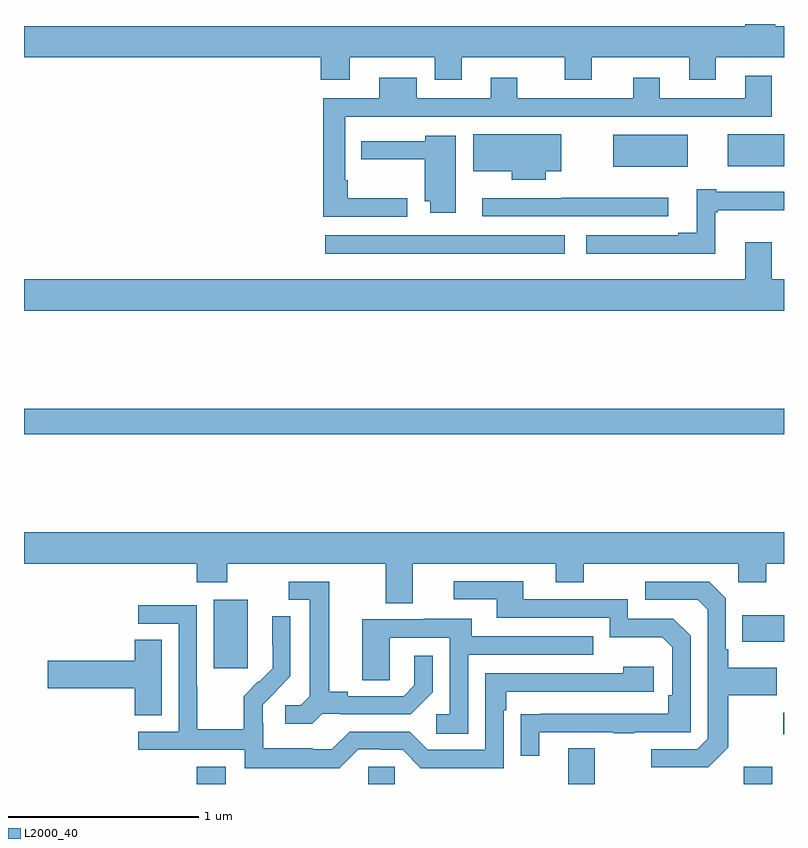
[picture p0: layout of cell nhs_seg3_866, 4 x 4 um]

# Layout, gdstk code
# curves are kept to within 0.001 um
import gdstk
lib = gdstk.Library(unit=1e-6, precision=1e-09)
def R(c, l, rs):  # rectangles x0, y0, x1, y1
    for r in rs: c.add(gdstk.rectangle(r[:2], r[2:], *l))
def P(c, l, *ps):  # polygons
    for p in ps: c.add(gdstk.Polygon(p, *l))
L2000_40 = (2000, 40)

nhs_seg3_866 = lib.new_cell('nhs_seg3_866')
R(nhs_seg3_866, L2000_40, [(155.909,722.4,156.061,722.491), (156.813,722.4,156.951,722.49), (157.865,722.4,158.005,722.587), (158.789,722.4,158.937,722.491), (158.997,722.661,159,722.774), (155.999,723.009,156.178,723.37), (158.779,723.149,159,723.289), (155,724.24,159,724.376), (156.585,725.192,157.846,725.289), (158.102,725.648,158.494,725.818), (158.705,725.651,159,725.821)])
P(nhs_seg3_866, L2000_40, [(156.715,726.224),(157.163,726.224),(157.163,726.107),(157.303,726.107),(157.303,726.224),(157.847,726.224),(157.847,726.107),(157.987,726.107),(157.987,726.224),(158.501,726.224),(158.501,726.107),(158.641,726.107),(158.641,726.224),(159,726.224),(159,726.388),(158.955,726.388),(158.955,726.4),(158.795,726.4),(158.795,726.388),(155,726.388),(155,726.224),(156.563,726.224),(156.563,726.107),(156.715,726.107)],
  [(157.018,725.483),(156.703,725.483),(156.703,725.578),(156.69,725.578),(156.69,725.913),(158.935,725.913),(158.935,726.127),(158.795,726.127),(158.795,726.009),(158.347,726.009),(158.347,726.118),(158.207,726.118),(158.207,726.009),(157.597,726.009),(157.597,726.118),(157.457,726.118),(157.457,726.009),(157.066,726.009),(157.066,726.118),(156.869,726.118),(156.869,726.009),(156.574,726.009),(156.574,725.385),(157.018,725.385)],
  [(157.745,725.624),(157.828,725.624),(157.828,725.821),(157.364,725.821),(157.364,725.624),(157.567,725.624),(157.567,725.579),(157.745,725.579)],
  [(157.273,725.812),(157.113,725.812),(157.113,725.784),(156.775,725.784),(156.775,725.687),(157.109,725.687),(157.109,725.468),(157.139,725.468),(157.139,725.406),(157.273,725.406)],
  [(158.638,725.409),(158.65,725.409),(158.65,725.42),(159,725.42),(159,725.518),(158.644,725.518),(158.644,725.53),(158.54,725.53),(158.54,725.302),(158.444,725.302),(158.444,725.289),(157.959,725.289),(157.959,725.192),(158.638,725.192)],
  [(158.392,725.485),(157.828,725.485),(157.828,725.484),(157.413,725.484),(157.413,725.388),(158.392,725.388)],
  [(159,725.056),(158.935,725.056),(158.935,725.251),(158.795,725.251),(158.795,725.056),(155,725.056),(155,724.892),(159,724.892)],
  [(157.045,723.56),(157.799,723.56),(157.799,723.461),(157.947,723.461),(157.947,723.56),(158.76,723.56),(158.76,723.461),(158.907,723.461),(158.907,723.56),(159,723.56),(159,723.724),(155,723.724),(155,723.56),(155.909,723.56),(155.909,723.461),(156.069,723.461),(156.069,723.56),(156.905,723.56),(156.905,723.352),(157.045,723.352)],
  [(157.711,722.673),(158.101,722.673),(158.101,722.668),(158.213,722.668),(158.213,722.673),(158.508,722.673),(158.508,723.18),(158.418,723.27),(158.178,723.27),(158.178,723.372),(157.627,723.372),(157.627,723.468),(157.263,723.468),(157.263,723.372),(157.487,723.372),(157.487,723.276),(158.082,723.276),(158.082,723.173),(158.359,723.173),(158.412,723.12),(158.412,722.866),(158.392,722.866),(158.392,722.769),(157.615,722.768),(157.615,722.55),(157.711,722.55)],
  [(156.57,722.769),(156.664,722.769),(156.664,722.766),(157.036,722.766),(157.152,722.882),(157.152,723.076),(157.055,723.076),(157.055,722.919),(156.998,722.862),(156.703,722.862),(156.703,722.885),(156.607,722.885),(156.607,723.465),(156.393,723.465),(156.393,723.369),(156.503,723.369),(156.503,722.861),(156.456,722.814),(156.375,722.814),(156.375,722.717),(156.518,722.717)],
  [(158.707,722.593),(158.707,722.866),(158.963,722.866),(158.963,723.013),(158.707,723.013),(158.707,723.109),(158.694,723.109),(158.694,723.378),(158.607,723.465),(158.271,723.465),(158.271,723.369),(158.547,723.369),(158.598,723.318),(158.598,722.637),(158.544,722.583),(158.301,722.583),(158.301,722.487),(158.601,722.487)],
  [(156.759,722.583),(156.875,722.583),(156.875,722.58),(156.993,722.58),(157.089,722.484),(157.524,722.484),(157.524,722.789),(157.537,722.789),(157.537,722.886),(158.314,722.886),(158.314,723.016),(158.153,723.016),(158.153,722.982),(157.428,722.982),(157.428,722.58),(157.125,722.58),(157.029,722.676),(156.714,722.676),(156.621,722.583),(156.521,722.583),(156.521,722.587),(156.258,722.587),(156.258,722.721),(156.256,722.721),(156.256,722.818),(156.402,722.966),(156.402,723.284),(156.306,723.284),(156.306,723.13),(156.308,723.13),(156.308,723.008),(156.237,722.937),(156.234,722.94),(156.157,722.863),(156.157,722.689),(155.913,722.689),(155.913,722.912),(155.91,722.912),(155.91,723.342),(155.601,723.342),(155.601,723.243),(155.814,723.243),(155.814,722.676),(155.601,722.676),(155.601,722.58),(156.162,722.58),(156.162,722.483),(156.659,722.483)],
  [(157.338,723.081),(157.997,723.081),(157.997,723.177),(157.357,723.177),(157.357,723.271),(157.103,723.271),(157.103,723.267),(156.779,723.267),(156.779,722.947),(156.924,722.947),(156.924,723.171),(157.242,723.171),(157.242,722.766),(157.17,722.766),(157.17,722.665),(157.338,722.665)],
  [(155.725,723.158),(155.582,723.158),(155.582,723.05),(155.124,723.05),(155.124,722.903),(155.582,722.903),(155.582,722.761),(155.725,722.761)])

lib.write_gds('nhs_seg3_866.gds')
